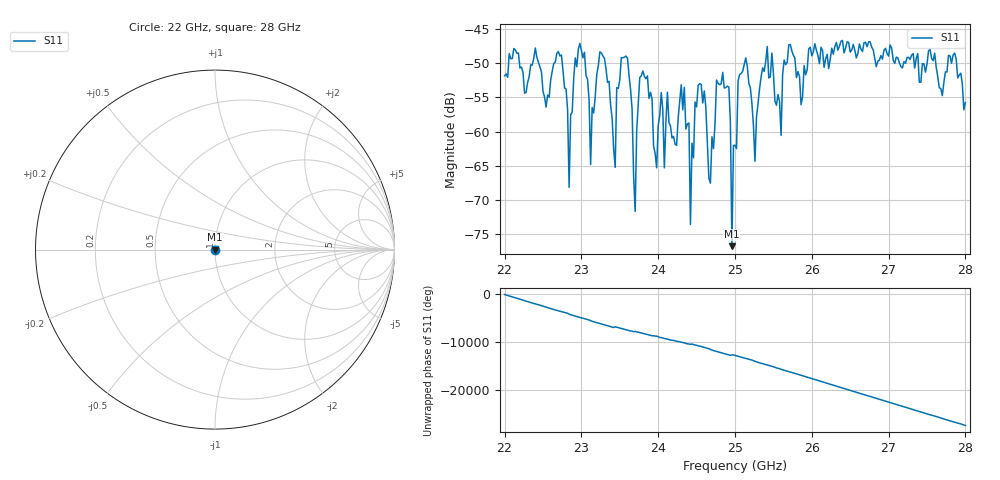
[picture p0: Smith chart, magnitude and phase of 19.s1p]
#  HZ  S  RI  R  50.00
! Rohde & Schwarz ZVA40 4Ports - Version 3.90 - 1145.1110k42 SN: 100403
! Date: 2023-10-04 07:15:55
! Measurement: S12
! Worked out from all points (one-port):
!   301 points, 22 GHz to 28 GHz, reference 50 ohm
!   lowest |S11| = -76.7 dB at 24.96 GHz (marker M1), VSWR 1.00, Z = 50 - j0.0135 ohm
!   |S11| at or under -10 dB: start of sweep to end of sweep
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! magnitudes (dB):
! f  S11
! 22 GHz  -51.8
! 22.76 GHz  -51.0
! 22.84 GHz  -68.1
! 22.98 GHz  -47.1
! 23.12 GHz  -64.8
! 23.24 GHz  -48.4
! 23.44 GHz  -65.2
! 23.5 GHz  -52.4
! 23.6 GHz  -49.3
! 23.7 GHz  -71.6
! 23.76 GHz  -52.1
! 23.98 GHz  -65.3
! 24.26 GHz  -58.0
! 24.4 GHz  -58.7
! 24.42 GHz  -73.5
! 24.52 GHz  -53.2
! 24.68 GHz  -67.5
! 24.84 GHz  -51.3
! 24.92 GHz  -53.5
! 24.96 GHz  -76.7
! 25 GHz  -62.0
! 25.14 GHz  -49.2
! 25.26 GHz  -64.3
! 25.42 GHz  -47.6
! 25.76 GHz  -48.9
! 26.5 GHz  -48.4
! 27.26 GHz  -49.1
! 28 GHz  -55.7
